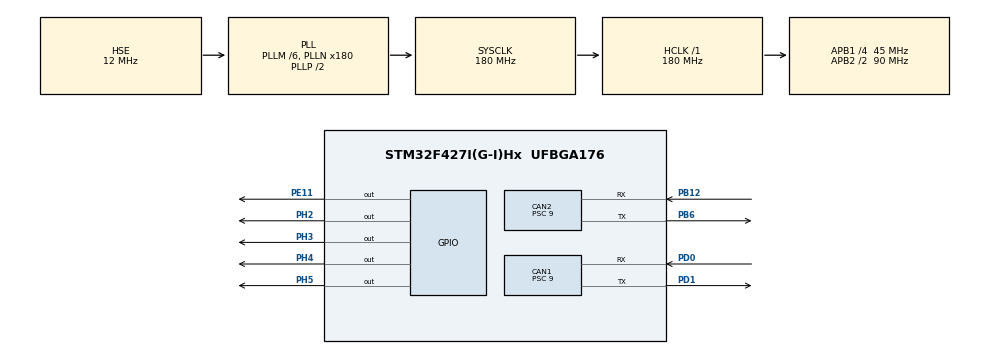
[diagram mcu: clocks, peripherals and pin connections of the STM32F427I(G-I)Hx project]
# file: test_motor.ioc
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CAN1.BS1=CAN_BS1_2TQ
CAN1.BS2=CAN_BS2_2TQ
CAN1.CalculateBaudRate=1000000
CAN1.CalculateTimeBit=1000
CAN1.CalculateTimeQuantum=200.0
CAN1.Prescaler=9
CAN2.BS1=CAN_BS1_2TQ
CAN2.BS2=CAN_BS2_2TQ
CAN2.CalculateBaudRate=1000000
CAN2.CalculateTimeBit=1000
CAN2.CalculateTimeQuantum=200.0
CAN2.Prescaler=9
Mcu.Family=STM32F4
Mcu.Name=STM32F427I(G-I)Hx
Mcu.Package=UFBGA176
NVIC.PriorityGroup=NVIC_PRIORITYGROUP_4
PA13.Mode=Serial_Wire
PA13.Signal=SYS_JTMS-SWDIO
PA14.Mode=Serial_Wire
PA14.Signal=SYS_JTCK-SWCLK
PB12.Mode=CAN_Activate
PB12.Signal=CAN2_RX
PB6.Mode=CAN_Activate
PB6.Signal=CAN2_TX
PD0.Mode=CAN_Activate
PD0.Signal=CAN1_RX
PD1.Mode=CAN_Activate
PD1.Signal=CAN1_TX
PE11.GPIO_PuPd=GPIO_PULLUP
PE11.Signal=GPIO_Output
PH0/OSC_IN.Mode=HSE-External-Oscillator
PH0/OSC_IN.Signal=RCC_OSC_IN
PH1/OSC_OUT.Mode=HSE-External-Oscillator
PH1/OSC_OUT.Signal=RCC_OSC_OUT
PH2.GPIO_PuPd=GPIO_PULLDOWN
PH2.Signal=GPIO_Output
PH3.GPIO_PuPd=GPIO_PULLDOWN
PH3.Signal=GPIO_Output
PH4.GPIO_PuPd=GPIO_PULLDOWN
PH4.Signal=GPIO_Output
PH5.GPIO_PuPd=GPIO_PULLDOWN
PH5.Signal=GPIO_Output
ProjectManager.HeapSize=0x200
ProjectManager.StackSize=0x400
ProjectManager.TargetToolchain=MDK-ARM V5.32
RCC.48MHZClocksFreq_Value=90000000
RCC.AHBFreq_Value=180000000
RCC.APB1CLKDivider=RCC_HCLK_DIV4
RCC.APB1Freq_Value=45000000
RCC.APB1TimFreq_Value=90000000
RCC.APB2CLKDivider=RCC_HCLK_DIV2
RCC.APB2Freq_Value=90000000
RCC.APB2TimFreq_Value=180000000
RCC.CortexFreq_Value=180000000
RCC.HCLKFreq_Value=180000000
RCC.HSE_VALUE=12000000
RCC.HSI_VALUE=16000000
RCC.LSE_VALUE=32768
RCC.PLLM=6
RCC.PLLN=180
RCC.PLLSourceVirtual=RCC_PLLSOURCE_HSE
RCC.SYSCLKFreq_VALUE=180000000
RCC.SYSCLKSource=RCC_SYSCLKSOURCE_PLLCLK
RCC.VCOOutputFreq_Value=360000000
board=custom

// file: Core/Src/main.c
/* USER CODE BEGIN Header */
/**
  ******************************************************************************
  * @file           : main.c
  * @brief          : Main program body
  ******************************************************************************
  * @attention
  *
  * Copyright (c) 2023 STMicroelectronics.
  * All rights reserved.
  *
  * This software is licensed under terms that can be found in the LICENSE file
  * in the root directory of this software component.
  * If no LICENSE file comes with this software, it is provided AS-IS.
  *
  ******************************************************************************
  */
/* USER CODE END Header */
#include "main.h"
#include "can.h"
#include "gpio.h"

/* USER CODE BEGIN Includes */

#include "drv_bsp.h"
#include "drv_can.h"

/* USER CODE END Includes */

void SystemClock_Config(void);

/* USER CODE BEGIN 0 */

/**
 * @brief 空回调函数
 *
 * @param Rx_Buffer CAN接收的信息结构体
 */
void NULL_Call_Back(Struct_CAN_Rx_Buffer *Rx_Buffer)
{

}

/* USER CODE END 0 */

int main(void)
{

  /* MCU Configuration--------------------------------------------------------*/

  /* Reset of all peripherals, Initializes the Flash interface and the Systick. */
  HAL_Init();

  /* Configure the system clock */
  SystemClock_Config();

  /* Initialize all configured peripherals */
  MX_GPIO_Init();
  MX_CAN1_Init();
  MX_CAN2_Init();
  /* USER CODE BEGIN 2 */

  BSP_Init(BSP_DC24_LU_ON | BSP_DC24_LD_ON | BSP_DC24_RU_ON | BSP_DC24_RD_ON);
  CAN_Init(&hcan1, NULL_Call_Back);

  /* USER CODE END 2 */

  /* Infinite loop */
  /* USER CODE BEGIN WHILE */
  int16_t torque = 0;
  while (1)
  {
    while(torque < 1000)
    {
      torque += 50;
      CAN1_0x200_Tx_Data[0] = torque >> 8;
      CAN1_0x200_Tx_Data[1] = torque;
      CAN_Send_Data(&hcan1, 0x200, CAN1_0x200_Tx_Data, 8);
      HAL_Delay(50);
    }
    while(torque > -1000)
    {
      torque -= 50;
      CAN1_0x200_Tx_Data[0] = torque >> 8;
      CAN1_0x200_Tx_Data[1] = torque;
      CAN_Send_Data(&hcan1, 0x200, CAN1_0x200_Tx_Data, 8);
      HAL_Delay(50);
    }

    /* USER CODE END WHILE */

  }
}

void SystemClock_Config(void)
{
  RCC_OscInitTypeDef RCC_OscInitStruct = {0};
  RCC_ClkInitTypeDef RCC_ClkInitStruct = {0};

  /** Configure the main internal regulator output voltage
  */
  __HAL_RCC_PWR_CLK_ENABLE();
  __HAL_PWR_VOLTAGESCALING_CONFIG(PWR_REGULATOR_VOLTAGE_SCALE1);

  /** Initializes the RCC Oscillators according to the specified parameters
  * in the RCC_OscInitTypeDef structure.
  */
  RCC_OscInitStruct.OscillatorType = RCC_OSCILLATORTYPE_HSE;
  RCC_OscInitStruct.HSEState = RCC_HSE_ON;
  RCC_OscInitStruct.PLL.PLLState = RCC_PLL_ON;
  RCC_OscInitStruct.PLL.PLLSource = RCC_PLLSOURCE_HSE;
  RCC_OscInitStruct.PLL.PLLM = 6;
  RCC_OscInitStruct.PLL.PLLN = 180;
  RCC_OscInitStruct.PLL.PLLP = RCC_PLLP_DIV2;
  RCC_OscInitStruct.PLL.PLLQ = 4;
  if (HAL_RCC_OscConfig(&RCC_OscInitStruct) != HAL_OK)
  {
    Error_Handler();
  }

  /** Activate the Over-Drive mode
  */
  if (HAL_PWREx_EnableOverDrive() != HAL_OK)
  {
    Error_Handler();
  }

  /** Initializes the CPU, AHB and APB buses clocks
  */
  RCC_ClkInitStruct.ClockType = RCC_CLOCKTYPE_HCLK|RCC_CLOCKTYPE_SYSCLK
                              |RCC_CLOCKTYPE_PCLK1|RCC_CLOCKTYPE_PCLK2;
  RCC_ClkInitStruct.SYSCLKSource = RCC_SYSCLKSOURCE_PLLCLK;
  RCC_ClkInitStruct.AHBCLKDivider = RCC_SYSCLK_DIV1;
  RCC_ClkInitStruct.APB1CLKDivider = RCC_HCLK_DIV4;
  RCC_ClkInitStruct.APB2CLKDivider = RCC_HCLK_DIV2;

  if (HAL_RCC_ClockConfig(&RCC_ClkInitStruct, FLASH_LATENCY_5) != HAL_OK)
  {
    Error_Handler();
  }
}

void Error_Handler(void)
{
  __disable_irq();
  while (1)
  {
  }
}
